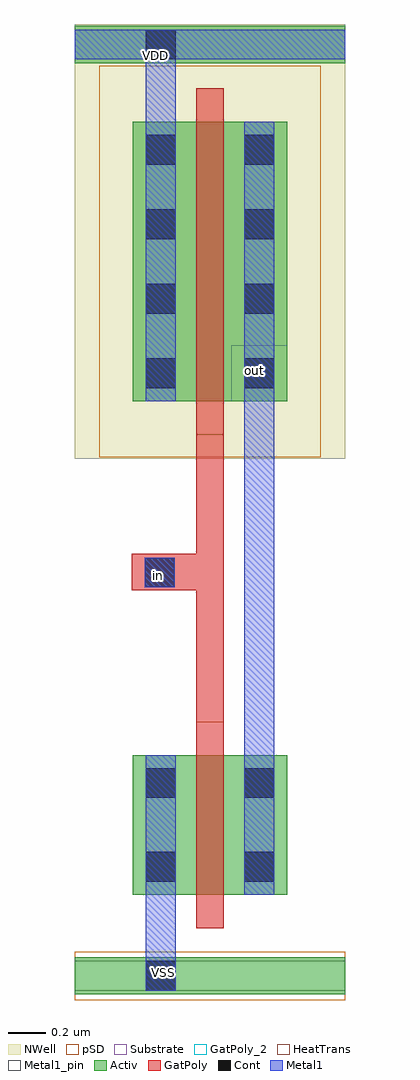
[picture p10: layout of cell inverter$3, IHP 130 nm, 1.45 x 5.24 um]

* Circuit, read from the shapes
.subckt inverter$3 VDD VSS in out
XM1 out in VSS VSS sg13_lv_nmos w=0.75u l=0.15u
XM2 out in VDD VDD sg13_lv_pmos w=1.5u l=0.15u
.ends

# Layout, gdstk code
import gdstk
lib = gdstk.Library(unit=1e-6, precision=5e-09)
def R(c, l, rs):  # rectangles x0, y0, x1, y1
    for r in rs: c.add(gdstk.rectangle(r[:2], r[2:], *l))
def A(c, l, x, y, w, h, nx, ny, dx, dy):  # array of equal rectangles
    R(c, l, [(x+i*dx, y+j*dy, x+i*dx+w, y+j*dy+h) for i in range(nx) for j in range(ny)])
Activ = (1, 0)
GatPoly = (5, 0)
GatPoly_2 = (5, 2)
Cont = (6, 0)
Metal1 = (8, 0)
Metal1_pin = (8, 2)
pSD = (14, 0)
NWell = (31, 0)
Substrate = (40, 0)
HeatTrans = (51, 0)

nmos_5 = lib.new_cell('nmos$5')
R(nmos_5, Activ, [(0,0,0.3,0.3), (0,0,0.83,0.75), (0.53,0,0.83,0.3)])
R(nmos_5, GatPoly, [(0.34,-0.18,0.49,0.93)])
R(nmos_5, GatPoly_2, [(0.34,-0.18,0.49,0.93)])
R(nmos_5, Cont, [(0.07,0.07,0.23,0.23), (0.6,0.07,0.76,0.23), (0.07,0.52,0.23,0.68), (0.6,0.52,0.76,0.68)])
R(nmos_5, Metal1, [(0.07,0,0.23,0.75), (0.6,0,0.76,0.75)])
R(nmos_5, Metal1_pin, [(0.07,0,0.23,0.75), (0.6,0,0.76,0.75)])
R(nmos_5, HeatTrans, [(0.34,-0.18,0.49,0.93)])
nmos_5.add(gdstk.Label('nmos', (0.415,0.375), layer=63, texttype=0))
nmos_5.add(gdstk.Label('nmos', (0.415,0.375), layer=51, texttype=0))

pmos_1_13 = lib.new_cell('pmos$1$13')
R(pmos_1_13, Activ, [(0,0,0.3,0.3), (0,0,0.83,1.5), (0.53,0,0.83,0.3)])
R(pmos_1_13, GatPoly, [(0.34,-0.18,0.49,1.68), (0.34,-0.18,0.49,1.68)])
A(pmos_1_13, Cont, 0.07, 0.07, 0.16, 0.16, 1, 4, 0, 0.4)
A(pmos_1_13, Cont, 0.6, 0.07, 0.16, 0.16, 1, 4, 0, 0.4)
R(pmos_1_13, Metal1, [(0.07,0,0.23,1.5), (0.07,0,0.23,1.5), (0.6,0,0.76,1.5), (0.6,0,0.76,1.5)])
R(pmos_1_13, pSD, [(-0.18,-0.3,1.01,1.8)])
R(pmos_1_13, NWell, [(-0.31,-0.31,1.14,1.81)])
R(pmos_1_13, Substrate, [(0.53,0,0.83,0.3)])
R(pmos_1_13, HeatTrans, [(0.34,-0.18,0.49,1.68)])
pmos_1_13.add(gdstk.Label('pmos', (0.415,0.75), layer=63, texttype=0))
pmos_1_13.add(gdstk.Label('pmos', (0.415,0.75), layer=51, texttype=0))

inverter_3 = lib.new_cell('inverter$3')
R(inverter_3, Activ, [(-0.46,-0.1,0.99,0.1), (-0.46,4.9,0.99,5.1)])
R(inverter_3, GatPoly, [(0.19,1.365,0.34,2.965), (-0.155,2.07,0.145,2.265), (0.145,2.07,0.19,2.265)])
R(inverter_3, Cont, [(-0.08,-0.08,0.08,0.08), (-0.085,2.085,0.075,2.245), (-0.08,4.92,0.08,5.08)])
R(inverter_3, Metal1, [(-0.08,-0.08,0.08,0.08), (-0.08,0.08,0.08,0.435), (0.45,0.96,0.61,3.37), (-0.085,2.085,0.075,2.245), (-0.08,4.585,0.08,4.92), (-0.46,4.92,-0.08,5.08), (-0.08,4.92,0.08,5.08), (0.08,4.92,0.99,5.08)])
R(inverter_3, Metal1_pin, [(-0.46,-0.08,0.99,0.08), (-0.08,-0.08,0.08,0.08), (-0.085,2.085,0.075,2.245), (0.45,3.155,0.61,3.315), (-0.46,4.92,0.99,5.08), (-0.08,4.92,0.08,5.08)])
R(inverter_3, pSD, [(-0.46,-0.13,0.99,0.13)])
R(inverter_3, NWell, [(-0.46,4.895,0.99,5.11)])
inverter_3.add(gdstk.Reference(nmos_5, (-0.15,0.435)))
inverter_3.add(gdstk.Reference(pmos_1_13, (-0.15,3.085)))
inverter_3.add(gdstk.Label('out', (0.505,3.25), layer=8, texttype=2))
inverter_3.add(gdstk.Label('VSS', (0.015,0.015), layer=8, texttype=2))
inverter_3.add(gdstk.Label('VDD', (-0.025,4.94), layer=8, texttype=2))
inverter_3.add(gdstk.Label('in', (-0.01,2.15), layer=8, texttype=2))

lib.write_gds('inverter_3.gds')
